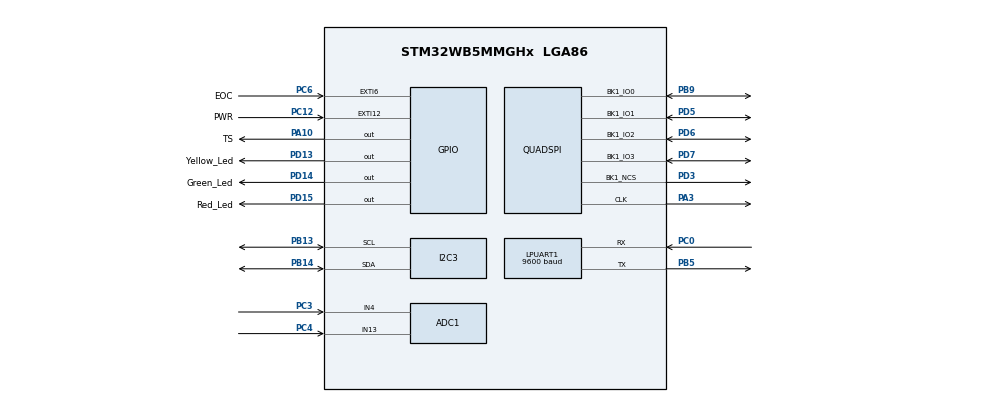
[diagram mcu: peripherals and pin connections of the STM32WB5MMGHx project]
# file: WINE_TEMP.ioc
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ADC1.Channel-0\#ChannelRegularConversion=ADC_CHANNEL_4
ADC1.Channel-1\#ChannelRegularConversion=ADC_CHANNEL_13
ADC1.ClockPrescaler=ADC_CLOCK_ASYNC_DIV4
ADC1.ContinuousConvMode=ENABLE
ADC1.EOCSelection=ADC_EOC_SEQ_CONV
ADC1.LowPowerAutoWait=ENABLE
ADC1.NbrOfConversion=2
ADC1.NbrOfConversionFlag=1
ADC1.OffsetNumber-0\#ChannelRegularConversion=ADC_OFFSET_NONE
ADC1.OffsetNumber-1\#ChannelRegularConversion=ADC_OFFSET_NONE
ADC1.Rank-0\#ChannelRegularConversion=1
ADC1.Rank-1\#ChannelRegularConversion=2
ADC1.SamplingTime-0\#ChannelRegularConversion=ADC_SAMPLETIME_92CYCLES_5
ADC1.SamplingTime-1\#ChannelRegularConversion=ADC_SAMPLETIME_92CYCLES_5
ADC1.master=1
Dma.ADC1.0.Direction=DMA_PERIPH_TO_MEMORY
Dma.ADC1.0.EventEnable=DISABLE
Dma.ADC1.0.Instance=DMA1_Channel1
Dma.ADC1.0.MemDataAlignment=DMA_MDATAALIGN_HALFWORD
Dma.ADC1.0.MemInc=DMA_MINC_ENABLE
Dma.ADC1.0.Mode=DMA_CIRCULAR
Dma.ADC1.0.PeriphDataAlignment=DMA_PDATAALIGN_HALFWORD
Dma.ADC1.0.PeriphInc=DMA_PINC_DISABLE
Dma.ADC1.0.Polarity=HAL_DMAMUX_REQ_GEN_RISING
Dma.ADC1.0.Priority=DMA_PRIORITY_LOW
Dma.ADC1.0.RequestNumber=1
Dma.ADC1.0.SignalID=NONE
Dma.ADC1.0.SyncEnable=DISABLE
Dma.ADC1.0.SyncPolarity=HAL_DMAMUX_SYNC_NO_EVENT
Dma.ADC1.0.SyncRequestNumber=1
Dma.ADC1.0.SyncSignalID=NONE
Dma.Request0=ADC1
I2C3.Timing=0x10707DBC
LPUART1.BaudRate=9600
Mcu.Family=STM32WB
Mcu.Name=STM32WB5MMGHx
Mcu.Package=LGA86
NVIC.DMA1_Channel1_IRQn=true\:0\:0\:false\:false\:true\:false\:true\:true
NVIC.EXTI15_10_IRQn=true\:0\:0\:false\:false\:true\:true\:true\:true
NVIC.EXTI9_5_IRQn=true\:0\:0\:false\:false\:true\:true\:true\:true
NVIC.HSEM_IRQn=true\:0\:0\:false\:false\:true\:false\:true\:true
NVIC.IPCC_C1_RX_IRQn=true\:0\:0\:false\:false\:true\:true\:true\:true
NVIC.IPCC_C1_TX_IRQn=true\:0\:0\:false\:false\:true\:true\:true\:true
NVIC.PriorityGroup=NVIC_PRIORITYGROUP_4
NVIC.QUADSPI_IRQn=true\:0\:0\:false\:false\:true\:true\:true\:true
NVIC.RTC_WKUP_IRQn=true\:0\:0\:false\:false\:true\:true\:true\:true
PA10.GPIO_Label=TS
PA10.GPIO_ModeDefaultOutputPP=GPIO_MODE_OUTPUT_OD
PA10.GPIO_PuPd=GPIO_NOPULL
PA10.GPIO_Speed=GPIO_SPEED_FREQ_VERY_HIGH
PA10.PinState=GPIO_PIN_SET
PA10.Signal=GPIO_Output
PA3.Mode=Single Bank 1
PA3.Signal=QUADSPI_CLK
PB13.Mode=I2C
PB13.Signal=I2C3_SCL
PB14.Mode=I2C
PB14.Signal=I2C3_SDA
PB5.Mode=Asynchronous
PB5.Signal=LPUART1_TX
PB9.Mode=Single Bank 1
PB9.Signal=QUADSPI_BK1_IO0
PC0.Mode=Asynchronous
PC0.Signal=LPUART1_RX
PC12.GPIO_Label=PWR
PC12.GPIO_ModeDefaultEXTI=GPIO_MODE_IT_RISING_FALLING
PC12.Signal=GPXTI12
PC3.Signal=ADCx_IN4
PC4.Signal=ADCx_IN13
PC6.GPIO_Label=EOC
PC6.GPIO_ModeDefaultEXTI=GPIO_MODE_IT_RISING_FALLING
PC6.Signal=GPXTI6
PD13.GPIO_Label=Yellow_Led
PD13.PinState=GPIO_PIN_SET
PD13.Signal=GPIO_Output
PD14.GPIO_Label=Green_Led
PD14.PinState=GPIO_PIN_SET
PD14.Signal=GPIO_Output
PD15.GPIO_Label=Red_Led
PD15.PinState=GPIO_PIN_SET
PD15.Signal=GPIO_Output
PD3.Mode=Single Bank 1
PD3.Signal=QUADSPI_BK1_NCS
PD5.Mode=Single Bank 1
PD5.Signal=QUADSPI_BK1_IO1
PD6.Mode=Single Bank 1
PD6.Signal=QUADSPI_BK1_IO2
PD7.Mode=Single Bank 1
PD7.Signal=QUADSPI_BK1_IO3
ProjectManager.HeapSize=0x200
ProjectManager.StackSize=0x400
ProjectManager.TargetToolchain=STM32CubeIDE
QUADSPI.ChipSelectHighTime=QSPI_CS_HIGH_TIME_2_CYCLE
QUADSPI.ClockPrescaler=1
QUADSPI.FifoThreshold=4
QUADSPI.FlashSize=20
QUADSPI.SampleShifting=QSPI_SAMPLE_SHIFTING_HALFCYCLE
RCC.ADCFreq_Value=48000000
RCC.AHB2CLKDivider=RCC_SYSCLK_DIV2
RCC.AHBCLKDivider=RCC_SYSCLK_DIV2
RCC.AHBFreq_Value=32000000
RCC.APB1Freq_Value=32000000
RCC.APB1TimFreq_Value=32000000
RCC.APB2Freq_Value=32000000
RCC.APB2TimFreq_Value=32000000
RCC.APB3Freq_Value=16000000
RCC.Cortex2_Div=SYSTICK_CLKSOURCE_HCLK_DIV8
RCC.CortexFreq_Value=32000000
RCC.HCLKFreq_Value=32000000
RCC.HSE_VALUE=32000000
RCC.HSI48_VALUE=48000000
RCC.HSI_VALUE=16000000
RCC.I2C3CLockSelection=RCC_I2C3CLKSOURCE_SYSCLK
RCC.PLLN=32
RCC.PLLSAI1N=24
RCC.RFWKPClockSelection=RCC_RFWKPCLKSOURCE_LSE
RCC.RTCClockSelection=RCC_RTCCLKSOURCE_LSE
RCC.SYSCLKFreq_VALUE=64000000
RCC.SYSCLKSource=RCC_SYSCLKSOURCE_PLLCLK
RCC.USBFreq_Value=48000000
RCC.VCOOutputFreq_Value=128000000
SH.ADCx_IN13.0=ADC1_IN13,IN13-Single-Ended
SH.ADCx_IN4.0=ADC1_IN4,IN4-Single-Ended
STM32_WPAN.AD_SERVICE_CLASS_UUID_1=18 0F
STM32_WPAN.AD_SERVICE_CLASS_UUID_1_INV=[0F, 18]
STM32_WPAN.AD_TYPE_MANUFACTURER_DATA_NBR=6
STM32_WPAN.CFG_ADV_BD_ADDRESS=0x11aabbccddee
STM32_WPAN.CFG_BLE_MAX_ATT_MTU=256
STM32_WPAN.CFG_BONDING_MODE=1
STM32_WPAN.CFG_DEBUGGER_SUPPORTED=0
STM32_WPAN.CFG_GAP_DEVICE_NAME=WT_UV
STM32_WPAN.CFG_GAP_DEVICE_NAME_LENGTH=5
STM32_WPAN.CFG_HW_RESET_BY_FW=1
STM32_WPAN.CFG_IO_CAPABILITY=CFG_IO_CAPABILITY_DISPLAY_ONLY
STM32_WPAN.CFG_KEYPRESS_NOTIFICATION_SUPPORT=CFG_KEYPRESS_SUPPORTED
STM32_WPAN.CFG_LPM_SUPPORTED=1
STM32_WPAN.CFG_SC_SUPPORT=CFG_SECURE_MANDATORY
STM32_WPAN.CFG_TX_POWER=(0x1F) /* 6dBm */
STM32_WPAN.CFG_USE_SMPS=0
STM32_WPAN.CUSTOM_P2P_SERVER=Disabled
STM32_WPAN.CUSTOM_TEMPLATE=Enabled
STM32_WPAN.DBG_TRACE_USE_CIRCULAR_QUEUE=0
STM32_WPAN.GAP_CENTRAL_ROLE=4
STM32_WPAN.GAP_PERIPHERAL_ROLE=1
STM32_WPAN.INCLUDE_AD_TYPE_16_BIT_SERV_UUID_CMPLT_LIST=1
STM32_WPAN.INCLUDE_AD_TYPE_MANUFACTURER_SPECIFIC_DATA=1
STM32_WPAN.INCLUDE_AD_TYPE_TX_POWER_LEVEL=1
STM32_WPAN.NUMBER_OF_SERVICES=5
STM32_WPAN.PAIRING_PARAMETERS=ON
STM32_WPAN.SERVICE1_CHAR1_ATTR_PERMISSION_ENCRY_READ=ATTR_PERMISSION_ENCRY_READ
STM32_WPAN.SERVICE1_CHAR1_GATT_NOTIFY_ATTRIBUTE_WRITE=\ 
STM32_WPAN.SERVICE1_CHAR1_GATT_NOTIFY_WRITE_REQ_AND_WAIT_FOR_APPL_RESP=\ 
STM32_WPAN.SERVICE1_CHAR1_LONG_NAME=level
STM32_WPAN.SERVICE1_CHAR1_PROP_READ=CHAR_PROP_READ
STM32_WPAN.SERVICE1_CHAR1_SHORT_NAME=level
STM32_WPAN.SERVICE1_CHAR1_UUID=2A 19
STM32_WPAN.SERVICE1_LONG_NAME=Battery_Service
STM32_WPAN.SERVICE1_SHORT_NAME=Bat_ser
STM32_WPAN.SERVICE1_UUID=18 0F
STM32_WPAN.SERVICE2_CHAR1_GATT_NOTIFY_ATTRIBUTE_WRITE=\ 
STM32_WPAN.SERVICE2_CHAR1_GATT_NOTIFY_READ_REQ_AND_WAIT_FOR_APPL_RESP=GATT_NOTIFY_READ_REQ_AND_WAIT_FOR_APPL_RESP
STM32_WPAN.SERVICE2_CHAR1_GATT_NOTIFY_WRITE_REQ_AND_WAIT_FOR_APPL_RESP=\ 
STM32_WPAN.SERVICE2_CHAR1_LONG_NAME=IR_temperature
STM32_WPAN.SERVICE2_CHAR1_PROP_NOTIFY=CHAR_PROP_NOTIFY
STM32_WPAN.SERVICE2_CHAR1_PROP_READ=CHAR_PROP_READ
STM32_WPAN.SERVICE2_CHAR1_SHORT_NAME=IR_T
STM32_WPAN.SERVICE2_CHAR1_UUID=3A 0A C3 22 21 9B 45 60 8F D8 7C F4 48 DA D5 53
STM32_WPAN.SERVICE2_CHAR1_UUID_128_INPUT_TYPE=1
STM32_WPAN.SERVICE2_CHAR1_VALUE_LENGTH=4
STM32_WPAN.SERVICE2_CHAR2_GATT_NOTIFY_ATTRIBUTE_WRITE=\ 
STM32_WPAN.SERVICE2_CHAR2_GATT_NOTIFY_WRITE_REQ_AND_WAIT_FOR_APPL_RESP=\ 
STM32_WPAN.SERVICE2_CHAR2_LONG_NAME=Analog_Temperature
STM32_WPAN.SERVICE2_CHAR2_PROP_READ=CHAR_PROP_READ
STM32_WPAN.SERVICE2_CHAR2_SHORT_NAME=A_T
STM32_WPAN.SERVICE2_CHAR2_UUID=5A BA 8C E2 6A 73 4B 04 8C 03 82 7A 9A 3A 46 D0
STM32_WPAN.SERVICE2_CHAR2_UUID_128_INPUT_TYPE=1
STM32_WPAN.SERVICE2_CHAR3_GATT_NOTIFY_READ_REQ_AND_WAIT_FOR_APPL_RESP=\ 
STM32_WPAN.SERVICE2_CHAR3_GATT_NOTIFY_WRITE_REQ_AND_WAIT_FOR_APPL_RESP=\ 
STM32_WPAN.SERVICE2_CHAR3_LONG_NAME=Set_Temp
STM32_WPAN.SERVICE2_CHAR3_PROP_WRITE_WITHOUT_RESP=CHAR_PROP_WRITE_WITHOUT_RESP
STM32_WPAN.SERVICE2_CHAR3_SHORT_NAME=S_T
STM32_WPAN.SERVICE2_CHAR3_UUID=0A 24 4B C1 07 45 43 B8 A9 DF B4 08 C4 A8 DF 8C
STM32_WPAN.SERVICE2_CHAR3_UUID_128_INPUT_TYPE=1
STM32_WPAN.SERVICE2_CHAR3_VALUE_LENGTH=4
STM32_WPAN.SERVICE2_CHAR4_GATT_NOTIFY_ATTRIBUTE_WRITE=\ 
STM32_WPAN.SERVICE2_CHAR4_GATT_NOTIFY_READ_REQ_AND_WAIT_FOR_APPL_RESP=GATT_NOTIFY_READ_REQ_AND_WAIT_FOR_APPL_RESP
STM32_WPAN.SERVICE2_CHAR4_GATT_NOTIFY_WRITE_REQ_AND_WAIT_FOR_APPL_RESP=\ 
STM32_WPAN.SERVICE2_CHAR4_LENGTH_CHARACTERISTIC=CHAR_VALUE_LEN_VARIABLE
STM32_WPAN.SERVICE2_CHAR4_LONG_NAME=Log_Temp
STM32_WPAN.SERVICE2_CHAR4_PROP_NOTIFY=CHAR_PROP_NOTIFY
STM32_WPAN.SERVICE2_CHAR4_SHORT_NAME=L_T
STM32_WPAN.SERVICE2_CHAR4_UUID=D5 72 E7 C1 6A 16 44 A4 8B 1D 8B 05 43 D4 BF 63
STM32_WPAN.SERVICE2_CHAR4_UUID_128_INPUT_TYPE=1
STM32_WPAN.SERVICE2_CHAR5_GATT_NOTIFY_ATTRIBUTE_WRITE=\ 
STM32_WPAN.SERVICE2_CHAR5_GATT_NOTIFY_READ_REQ_AND_WAIT_FOR_APPL_RESP=\ 
STM32_WPAN.SERVICE2_CHAR5_GATT_NOTIFY_WRITE_REQ_AND_WAIT_FOR_APPL_RESP=\ 
STM32_WPAN.SERVICE2_CHAR5_LONG_NAME=Range_Notification
STM32_WPAN.SERVICE2_CHAR5_PROP_NOTIFY=CHAR_PROP_NOTIFY
STM32_WPAN.SERVICE2_CHAR5_SHORT_NAME=R_N
STM32_WPAN.SERVICE2_CHAR5_UUID=5A 1A 48 07 D9 6C 4F 13 B9 45 5A B1 FA 5B 4D B3
STM32_WPAN.SERVICE2_CHAR5_UUID_128_INPUT_TYPE=1
STM32_WPAN.SERVICE2_LONG_NAME=Temperature
STM32_WPAN.SERVICE2_NUMBER_OF_CHARACTERISTICS=5
STM32_WPAN.SERVICE2_SHORT_NAME=temp
STM32_WPAN.SERVICE2_UUID=61 C8 32 12 93 A2 44 57 A0 D1 30 8B 99 B4 92 3D
STM32_WPAN.SERVICE2_UUID_128_INPUT_TYPE=1
STM32_WPAN.SERVICE3_CHAR1_GATT_NOTIFY_ATTRIBUTE_WRITE=\ 
STM32_WPAN.SERVICE3_CHAR1_GATT_NOTIFY_READ_REQ_AND_WAIT_FOR_APPL_RESP=\ 
STM32_WPAN.SERVICE3_CHAR1_GATT_NOTIFY_WRITE_REQ_AND_WAIT_FOR_APPL_RESP=\ 
STM32_WPAN.SERVICE3_CHAR1_LONG_NAME=UV_Value
STM32_WPAN.SERVICE3_CHAR1_PROP_NOTIFY=CHAR_PROP_NOTIFY
STM32_WPAN.SERVICE3_CHAR1_SHORT_NAME=UV_V
STM32_WPAN.SERVICE3_CHAR1_UUID=FE 59 5E 30 2F B8 11 EE BE 56 02 42 AC 12 00 02
STM32_WPAN.SERVICE3_CHAR1_UUID_128_INPUT_TYPE=1
STM32_WPAN.SERVICE3_CHAR1_VALUE_LENGTH=5
STM32_WPAN.SERVICE3_CHAR2_GATT_NOTIFY_ATTRIBUTE_WRITE=\ 
STM32_WPAN.SERVICE3_CHAR2_GATT_NOTIFY_READ_REQ_AND_WAIT_FOR_APPL_RESP=\ 
STM32_WPAN.SERVICE3_CHAR2_GATT_NOTIFY_WRITE_REQ_AND_WAIT_FOR_APPL_RESP=\ 
STM32_WPAN.SERVICE3_CHAR2_LENGTH_CHARACTERISTIC=CHAR_VALUE_LEN_VARIABLE
STM32_WPAN.SERVICE3_CHAR2_LONG_NAME=UV_Log
STM32_WPAN.SERVICE3_CHAR2_PROP_NOTIFY=CHAR_PROP_NOTIFY
STM32_WPAN.SERVICE3_CHAR2_SHORT_NAME=UV_L
STM32_WPAN.SERVICE3_CHAR2_UUID=FE 59 5F 84 2F B8 11 EE BE 56 02 42 AC 12 00 02
STM32_WPAN.SERVICE3_CHAR2_UUID_128_INPUT_TYPE=1
STM32_WPAN.SERVICE3_CHAR2_VALUE_LENGTH=247
STM32_WPAN.SERVICE3_CHAR3_GATT_NOTIFY_READ_REQ_AND_WAIT_FOR_APPL_RESP=\ 
STM32_WPAN.SERVICE3_CHAR3_GATT_NOTIFY_WRITE_REQ_AND_WAIT_FOR_APPL_RESP=\ 
STM32_WPAN.SERVICE3_CHAR3_LONG_NAME=BLE_CFG_OTA_REBOOT_CHAR
STM32_WPAN.SERVICE3_CHAR3_PROP_WRITE_WITHOUT_RESP=CHAR_PROP_WRITE_WITHOUT_RESP
STM32_WPAN.SERVICE3_CHAR3_SHORT_NAME=OTA
STM32_WPAN.SERVICE3_CHAR3_UUID=00 00 FE 11 8E 22 45 41 9D 4C 21 ED AE 82 ED 19
STM32_WPAN.SERVICE3_CHAR3_UUID_128_INPUT_TYPE=1
STM32_WPAN.SERVICE3_CHAR3_VALUE_LENGTH=3
STM32_WPAN.SERVICE3_CHAR4_GATT_NOTIFY_ATTRIBUTE_WRITE=\ 
STM32_WPAN.SERVICE3_CHAR4_GATT_NOTIFY_READ_REQ_AND_WAIT_FOR_APPL_RESP=\ 
STM32_WPAN.SERVICE3_CHAR4_GATT_NOTIFY_WRITE_REQ_AND_WAIT_FOR_APPL_RESP=\ 
STM32_WPAN.SERVICE3_CHAR4_LONG_NAME=Ambient_Temperature
STM32_WPAN.SERVICE3_CHAR4_PROP_NOTIFY=CHAR_PROP_NOTIFY
STM32_WPAN.SERVICE3_CHAR4_SHORT_NAME=Ambi_temp
STM32_WPAN.SERVICE3_CHAR4_UUID=FE 59 88 6A 2F B8 11 EE BE 56 02 42 AC 12 00 02
STM32_WPAN.SERVICE3_CHAR4_UUID_128_INPUT_TYPE=1
STM32_WPAN.SERVICE3_CHAR4_VALUE_LENGTH=4
STM32_WPAN.SERVICE3_CHAR5_GATT_NOTIFY_ATTRIBUTE_WRITE=GATT_NOTIFY_ATTRIBUTE_WRITE
STM32_WPAN.SERVICE3_CHAR5_GATT_NOTIFY_WRITE_REQ_AND_WAIT_FOR_APPL_RESP=\ 
STM32_WPAN.SERVICE3_CHAR5_LONG_NAME=TIME_INTERVAL
STM32_WPAN.SERVICE3_CHAR5_PROP_READ=CHAR_PROP_READ
STM32_WPAN.SERVICE3_CHAR5_PROP_WRITE_WITHOUT_RESP=CHAR_PROP_WRITE_WITHOUT_RESP
STM32_WPAN.SERVICE3_CHAR5_SHORT_NAME=t_INT
STM32_WPAN.SERVICE3_CHAR5_UUID=FE 59 9F 84 2F B8 11 EE BE 56 02 42 AC 12 00 02
STM32_WPAN.SERVICE3_CHAR5_UUID_128_INPUT_TYPE=1
STM32_WPAN.SERVICE3_LONG_NAME=UV_Sensor
STM32_WPAN.SERVICE3_NUMBER_OF_CHARACTERISTICS=5
STM32_WPAN.SERVICE3_SHORT_NAME=UV_s
STM32_WPAN.SERVICE3_UUID=FE 59 5B 56 2F B8 11 EE BE 56 02 42 AC 12 00 02
STM32_WPAN.SERVICE3_UUID_128_INPUT_TYPE=1
STM32_WPAN.SERVICE4_CHAR1_GATT_NOTIFY_ATTRIBUTE_WRITE=\ 
STM32_WPAN.SERVICE4_CHAR1_GATT_NOTIFY_WRITE_REQ_AND_WAIT_FOR_APPL_RESP=\ 
STM32_WPAN.SERVICE4_CHAR1_LONG_NAME=Acclerometer
STM32_WPAN.SERVICE4_CHAR1_PROP_READ=CHAR_PROP_READ
STM32_WPAN.SERVICE4_CHAR1_SHORT_NAME=Acclx
STM32_WPAN.SERVICE4_CHAR1_UUID=FE 59 72 C6 2F B8 11 EE BE 56 02 42 AC 12 00 02
STM32_WPAN.SERVICE4_CHAR1_UUID_128_INPUT_TYPE=1
STM32_WPAN.SERVICE4_CHAR2_GATT_NOTIFY_WRITE_REQ_AND_WAIT_FOR_APPL_RESP=\ 
STM32_WPAN.SERVICE4_CHAR2_LONG_NAME=Time_Date
STM32_WPAN.SERVICE4_CHAR2_PROP_READ=CHAR_PROP_READ
STM32_WPAN.SERVICE4_CHAR2_PROP_WRITE_WITHOUT_RESP=CHAR_PROP_WRITE_WITHOUT_RESP
STM32_WPAN.SERVICE4_CHAR2_SHORT_NAME=TD
STM32_WPAN.SERVICE4_CHAR2_UUID=FE 59 74 24 2F B8 11 EE BE 56 02 42 AC 12 00 02
STM32_WPAN.SERVICE4_CHAR2_UUID_128_INPUT_TYPE=1
STM32_WPAN.SERVICE4_CHAR2_VALUE_LENGTH=7
STM32_WPAN.SERVICE4_CHAR3_GATT_NOTIFY_ATTRIBUTE_WRITE=\ 
STM32_WPAN.SERVICE4_CHAR3_GATT_NOTIFY_READ_REQ_AND_WAIT_FOR_APPL_RESP=\ 
STM32_WPAN.SERVICE4_CHAR3_GATT_NOTIFY_WRITE_REQ_AND_WAIT_FOR_APPL_RESP=\ 
STM32_WPAN.SERVICE4_CHAR3_LONG_NAME=EOC
STM32_WPAN.SERVICE4_CHAR3_PROP_NOTIFY=CHAR_PROP_NOTIFY
STM32_WPAN.SERVICE4_CHAR3_SHORT_NAME=EC
STM32_WPAN.SERVICE4_CHAR3_UUID=FE 59 75 32 2F B8 11 EE BE 56 02 42 AC 12 00 02
STM32_WPAN.SERVICE4_CHAR3_UUID_128_INPUT_TYPE=1
STM32_WPAN.SERVICE4_CHAR4_GATT_NOTIFY_ATTRIBUTE_WRITE=\ 
STM32_WPAN.SERVICE4_CHAR4_GATT_NOTIFY_READ_REQ_AND_WAIT_FOR_APPL_RESP=\ 
STM32_WPAN.SERVICE4_CHAR4_GATT_NOTIFY_WRITE_REQ_AND_WAIT_FOR_APPL_RESP=\ 
STM32_WPAN.SERVICE4_CHAR4_LONG_NAME=PWR_GD
STM32_WPAN.SERVICE4_CHAR4_PROP_NOTIFY=CHAR_PROP_NOTIFY
STM32_WPAN.SERVICE4_CHAR4_SHORT_NAME=PWR_GD
STM32_WPAN.SERVICE4_CHAR4_UUID=FE 59 78 84 2F B8 11 EE BE 56 02 42 AC 12 00 02
STM32_WPAN.SERVICE4_CHAR4_UUID_128_INPUT_TYPE=1
STM32_WPAN.SERVICE4_CHAR5_ATTR_PERMISSION_ENCRY_READ=ATTR_PERMISSION_ENCRY_READ
STM32_WPAN.SERVICE4_CHAR5_GATT_NOTIFY_ATTRIBUTE_WRITE=\ 
STM32_WPAN.SERVICE4_CHAR5_GATT_NOTIFY_WRITE_REQ_AND_WAIT_FOR_APPL_RESP=\ 
STM32_WPAN.SERVICE4_CHAR5_LONG_NAME=Software_Revision_String
STM32_WPAN.SERVICE4_CHAR5_PROP_READ=CHAR_PROP_READ
STM32_WPAN.SERVICE4_CHAR5_SHORT_NAME=software_revision_string
STM32_WPAN.SERVICE4_CHAR5_UUID=2A 28
STM32_WPAN.SERVICE4_CHAR5_UUID_TYPE=0x01
STM32_WPAN.SERVICE4_CHAR5_VALUE_LENGTH=10
STM32_WPAN.SERVICE4_LONG_NAME=Utility
STM32_WPAN.SERVICE4_NUMBER_OF_CHARACTERISTICS=5
STM32_WPAN.SERVICE4_SHORT_NAME=UT
STM32_WPAN.SERVICE4_UUID=FE 59 71 C2 2F B8 11 EE BE 56 02 42 AC 12 00 02
STM32_WPAN.SERVICE4_UUID_128_INPUT_TYPE=1
STM32_WPAN.SERVICE5_CHAR1_GATT_NOTIFY_ATTRIBUTE_WRITE=GATT_NOTIFY_ATTRIBUTE_WRITE
STM32_WPAN.SERVICE5_CHAR1_GATT_NOTIFY_WRITE_REQ_AND_WAIT_FOR_APPL_RESP=\ 
STM32_WPAN.SERVICE5_CHAR1_LONG_NAME=MODE
STM32_WPAN.SERVICE5_CHAR1_PROP_READ=CHAR_PROP_READ
STM32_WPAN.SERVICE5_CHAR1_PROP_WRITE_WITHOUT_RESP=CHAR_PROP_WRITE_WITHOUT_RESP
STM32_WPAN.SERVICE5_CHAR1_SHORT_NAME=MD
STM32_WPAN.SERVICE5_CHAR1_UUID=25 F4 94 52 8A 54 42 85 B8 BE EE F5 81 37 CA 59
STM32_WPAN.SERVICE5_CHAR1_UUID_128_INPUT_TYPE=1
STM32_WPAN.SERVICE5_CHAR1_UUID_TYPE=0x02
STM32_WPAN.SERVICE5_LONG_NAME=OperationMode
STM32_WPAN.SERVICE5_SHORT_NAME=OP_m
STM32_WPAN.SERVICE5_UUID=2B D0 C3 69 E8 5F 44 E9 8C 2C FB 5B FF 07 6F 5F
STM32_WPAN.SERVICE5_UUID_128_INPUT_TYPE=1
VP_ADC1_Vref_Input.Mode=IN-Vrefint
VP_HSEM_VS_HSEM.Mode=HSEM_Activate
VP_IPCC_VS_IPCC.Mode=IPCC_Activate
VP_MEMORYMAP_VS_MEMORYMAP.Mode=CurAppReg
VP_RCC_V_OSC32_IN.Mode=LSE-External-Clock-Source
VP_RCC_V_OSC_IN.Mode=HSE-External-Clock-Source
VP_RF_VS_RF.Mode=RF_Activate
VP_RTC_VS_RTC_Activate.Mode=RTC_Enabled
VP_RTC_VS_RTC_WakeUp_intern.Mode=WakeUp
VP_SEQUENCER_VS_SEQUENCER.Mode=SEQUENCER_Enabled
VP_STM32_WPAN_VS_BLE_HOST.Mode=STM32_WPAN_Enabled
VP_TINY_LPM_VS_TINY_LPM.Mode=TINY_LPM_Enabled
board=STM32WB5MM-DK

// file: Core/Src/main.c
/* USER CODE BEGIN Header */
/**
  ******************************************************************************
  * @file           : main.c
  * @brief          : Main program body
  ******************************************************************************
  * @attention
  *
  * Copyright (c) 2024 STMicroelectronics.
  * All rights reserved.
  *
  * This software is licensed under terms that can be found in the LICENSE file
  * in the root directory of this software component.
  * If no LICENSE file comes with this software, it is provided AS-IS.
  *
  ******************************************************************************
  */
/* USER CODE END Header */
#include "main.h"
#include "adc.h"
#include "dma.h"
#include "i2c.h"
#include "ipcc.h"
#include "usart.h"
#include "memorymap.h"
#include "quadspi.h"
#include "rf.h"
#include "rtc.h"
#include "gpio.h"

/* USER CODE BEGIN Includes */
#include "mlx90632.h"
#include "Acclx.h"
#include "UV.h"
/* USER CODE END Includes */

/* USER CODE BEGIN PM */
#if defined(__ICCARM__)
/* New definition from EWARM V9, compatible with EWARM8 */
int iar_fputc(int ch);
#define PUTCHAR_PROTOTYPE int iar_fputc(int ch)
#define GETCHAR_PROTOTYPE int fgetc(FILE *f)
#elif defined (__CC_ARM) || defined(__ARMCC_VERSION)
/* ARM Compiler 5/6 */
#define PUTCHAR_PROTOTYPE int fputc(int ch, FILE *f)
#define GETCHAR_PROTOTYPE int fgetc(FILE *f)
#elif defined(__GNUC__)
int __io_putchar(int ch);
#define PUTCHAR_PROTOTYPE int __io_putchar(int ch)
int __io_getchar(void);
#define GETCHAR_PROTOTYPE int __io_getchar(void)
#endif/* __ICCARM__ */
/* USER CODE END PM */

/* USER CODE BEGIN PV */
uint8_t PWR_GD;
uint8_t EOC_v,r;
/* USER CODE END PV */

void SystemClock_Config(void);
void PeriphCommonClock_Config(void);

int main(void)
{

  /* MCU Configuration--------------------------------------------------------*/

  /* Reset of all peripherals, Initializes the Flash interface and the Systick. */
  HAL_Init();
  /* Config code for STM32_WPAN (HSE Tuning must be done before system clock configuration) */
  MX_APPE_Config();

  /* Configure the system clock */
  SystemClock_Config();

/* Configure the peripherals common clocks */
  PeriphCommonClock_Config();

  /* IPCC initialisation */
  MX_IPCC_Init();

  /* Initialize all configured peripherals */
  MX_GPIO_Init();
  MX_DMA_Init();
  MX_ADC1_Init();
  MX_I2C3_Init();
  MX_QUADSPI_Init();
  MX_RTC_Init();
  MX_LPUART1_UART_Init();
  MX_RF_Init();
  /* USER CODE BEGIN 2 */
  UV_init();
  FL_QUADSPI_Init();
  mlx90632_init();
  mlx90632_read_eeprom(&PR, &PG, &PO, &PT, &Ea, &Eb, &Fa, &Fb, &Ga, &Gb, &Ha, &Hb, &Ka);

  mlx90632_set_meas_type(MLX90632_MTYP_MEDICAL_BURST);
  mlx90632_set_emissivity(1.00);

  if (mlx90632_get_meas_type() != MLX90632_MTYP_MEDICAL_BURST){
	  mlx90632_set_meas_type(MLX90632_MTYP_MEDICAL_BURST);}

  HAL_Delay(10);

  AccelInit();

  EOC_v=HAL_GPIO_ReadPin(GPIOC,EOC_Pin);
  PWR_GD=HAL_GPIO_ReadPin(GPIOC,PWR_Pin);
  HAL_GPIO_WritePin(GPIOA,TS_Pin,GPIO_PIN_SET);
  uint8_t opmod[4];
//  while(1)
//  { uint8_t opmod[4]={1,3,4,6};
//	QSPI_Sector_Erase(0x00);
//	Quad_Write(opmod,0x00,4);
//
//	printf("data %d %d %d %d \n",opmod[0],opmod[1],opmod[2],opmod[3]);
//	Quad_Read(opmod,0x00,4);
//	printf("data2 %d %d %d %d \n",opmod[0],opmod[1],opmod[2],opmod[3]);
//  }
  /* USER CODE END 2 */

  /* Init code for STM32_WPAN */
  MX_APPE_Init();

  /* Infinite loop */
  while (1)
  {
    MX_APPE_Process();

    /* USER CODE BEGIN 3 */

//    QSPI_Sector_Erase(0x00);
//    	Quad_Write(opmod,0x00,4);
//    	printf("data %d %d %d %d \n",opmod[0],opmod[1],opmod[2],opmod[3]);
//    	Quad_Read(opmod,0x00,4);
//    	printf("data2 %d %d %d %d \n",opmod[0],opmod[1],opmod[2],opmod[3]);

  }
  /* USER CODE END 3 */
}

void SystemClock_Config(void)
{
  RCC_OscInitTypeDef RCC_OscInitStruct = {0};
  RCC_ClkInitTypeDef RCC_ClkInitStruct = {0};

  /** Configure LSE Drive Capability
  */
  HAL_PWR_EnableBkUpAccess();
  __HAL_RCC_LSEDRIVE_CONFIG(RCC_LSEDRIVE_MEDIUMHIGH);

  /** Configure the main internal regulator output voltage
  */
  __HAL_PWR_VOLTAGESCALING_CONFIG(PWR_REGULATOR_VOLTAGE_SCALE1);

  /** Initializes the RCC Oscillators according to the specified parameters
  * in the RCC_OscInitTypeDef structure.
  */
  RCC_OscInitStruct.OscillatorType = RCC_OSCILLATORTYPE_HSI|RCC_OSCILLATORTYPE_HSE
                              |RCC_OSCILLATORTYPE_LSE|RCC_OSCILLATORTYPE_MSI;
  RCC_OscInitStruct.HSEState = RCC_HSE_ON;
  RCC_OscInitStruct.LSEState = RCC_LSE_ON;
  RCC_OscInitStruct.HSIState = RCC_HSI_ON;
  RCC_OscInitStruct.MSIState = RCC_MSI_ON;
  RCC_OscInitStruct.HSICalibrationValue = RCC_HSICALIBRATION_DEFAULT;
  RCC_OscInitStruct.MSICalibrationValue = RCC_MSICALIBRATION_DEFAULT;
  RCC_OscInitStruct.MSIClockRange = RCC_MSIRANGE_6;
  RCC_OscInitStruct.PLL.PLLState = RCC_PLL_ON;
  RCC_OscInitStruct.PLL.PLLSource = RCC_PLLSOURCE_MSI;
  RCC_OscInitStruct.PLL.PLLM = RCC_PLLM_DIV1;
  RCC_OscInitStruct.PLL.PLLN = 32;
  RCC_OscInitStruct.PLL.PLLP = RCC_PLLP_DIV2;
  RCC_OscInitStruct.PLL.PLLR = RCC_PLLR_DIV2;
  RCC_OscInitStruct.PLL.PLLQ = RCC_PLLQ_DIV2;
  if (HAL_RCC_OscConfig(&RCC_OscInitStruct) != HAL_OK)
  {
    Error_Handler();
  }

  /** Configure the SYSCLKSource, HCLK, PCLK1 and PCLK2 clocks dividers
  */
  RCC_ClkInitStruct.ClockType = RCC_CLOCKTYPE_HCLK4|RCC_CLOCKTYPE_HCLK2
                              |RCC_CLOCKTYPE_HCLK|RCC_CLOCKTYPE_SYSCLK
                              |RCC_CLOCKTYPE_PCLK1|RCC_CLOCKTYPE_PCLK2;
  RCC_ClkInitStruct.SYSCLKSource = RCC_SYSCLKSOURCE_PLLCLK;
  RCC_ClkInitStruct.AHBCLKDivider = RCC_SYSCLK_DIV2;
  RCC_ClkInitStruct.APB1CLKDivider = RCC_HCLK_DIV1;
  RCC_ClkInitStruct.APB2CLKDivider = RCC_HCLK_DIV1;
  RCC_ClkInitStruct.AHBCLK2Divider = RCC_SYSCLK_DIV2;
  RCC_ClkInitStruct.AHBCLK4Divider = RCC_SYSCLK_DIV1;

  if (HAL_RCC_ClockConfig(&RCC_ClkInitStruct, FLASH_LATENCY_3) != HAL_OK)
  {
    Error_Handler();
  }
}

void PeriphCommonClock_Config(void)
{
  RCC_PeriphCLKInitTypeDef PeriphClkInitStruct = {0};

  /** Initializes the peripherals clock
  */
  PeriphClkInitStruct.PeriphClockSelection = RCC_PERIPHCLK_SMPS|RCC_PERIPHCLK_RFWAKEUP;
  PeriphClkInitStruct.RFWakeUpClockSelection = RCC_RFWKPCLKSOURCE_LSE;
  PeriphClkInitStruct.SmpsClockSelection = RCC_SMPSCLKSOURCE_HSI;
  PeriphClkInitStruct.SmpsDivSelection = RCC_SMPSCLKDIV_RANGE1;

  if (HAL_RCCEx_PeriphCLKConfig(&PeriphClkInitStruct) != HAL_OK)
  {
    Error_Handler();
  }
}

/* USER CODE BEGIN 4 */
#if defined(__ICCARM__)
/**
  * @brief  Retargets the C library __write function to the IAR function iar_fputc.
  * @param  file: file descriptor.
  * @param  ptr: pointer to the buffer where the data is stored.
  * @param  len: length of the data to write in bytes.
  * @retval length of the written data in bytes.
  */
size_t __write(int file, unsigned char const *ptr, size_t len)
{
  size_t idx;
  unsigned char const *pdata = ptr;

  for (idx = 0; idx < len; idx++)
  {
    iar_fputc((int)*pdata);
    pdata++;
  }
  return len;
}
#endif /* __ICCARM__ */

/**
  * @brief  Retargets the C library printf function to the USART.
  * @param  None
  * @retval None
  */
PUTCHAR_PROTOTYPE
{
  /* Place your implementation of fputc here */
  /* e.g. write a character to the USART1 and Loop until the end of transmission */
  HAL_UART_Transmit(&hlpuart1, (uint8_t *)&ch, 1, 0xFFFF);

  return ch;
}

GETCHAR_PROTOTYPE
{
  uint8_t ch = 0;
  /* Place your implementation of fgetc here */

  /* Clear the Overrun flag just before receiving the first character */
  __HAL_UART_CLEAR_OREFLAG(&hlpuart1);

  /* Wait for reception of a character on the USART1 RX line
     and echo this character on console */
  HAL_UART_Receive(&hlpuart1, (uint8_t *)&ch, 1, 0xFFFF);
  HAL_UART_Transmit(&hlpuart1, (uint8_t *)&ch, 1, 0xFFFF);
  return ch;
}
/* USER CODE END 4 */

void Error_Handler(void)
{
  __disable_irq();
  while (1)
  {
  }
}
